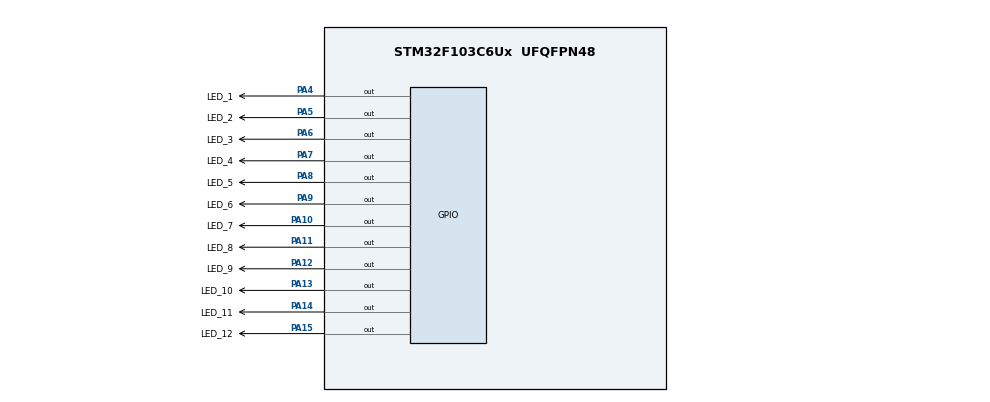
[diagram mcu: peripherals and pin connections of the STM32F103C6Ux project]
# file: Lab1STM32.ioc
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Mcu.Family=STM32F1
Mcu.Name=STM32F103C6Ux
Mcu.Package=UFQFPN48
NVIC.PriorityGroup=NVIC_PRIORITYGROUP_4
PA10.GPIO_Label=LED_7
PA10.Signal=GPIO_Output
PA11.GPIO_Label=LED_8
PA11.Signal=GPIO_Output
PA12.GPIO_Label=LED_9
PA12.Signal=GPIO_Output
PA13.GPIO_Label=LED_10
PA13.Signal=GPIO_Output
PA14.GPIO_Label=LED_11
PA14.Signal=GPIO_Output
PA15.GPIO_Label=LED_12
PA15.Signal=GPIO_Output
PA4.GPIO_Label=LED_1
PA4.Signal=GPIO_Output
PA5.GPIO_Label=LED_2
PA5.Signal=GPIO_Output
PA6.GPIO_Label=LED_3
PA6.Signal=GPIO_Output
PA7.GPIO_Label=LED_4
PA7.Signal=GPIO_Output
PA8.GPIO_Label=LED_5
PA8.Signal=GPIO_Output
PA9.GPIO_Label=LED_6
PA9.Signal=GPIO_Output
ProjectManager.HeapSize=0x200
ProjectManager.StackSize=0x400
ProjectManager.TargetToolchain=STM32CubeIDE
RCC.APB1Freq_Value=8000000
RCC.APB2Freq_Value=8000000
VP_SYS_VS_ND.Mode=No_Debug
board=custom

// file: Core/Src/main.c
/* USER CODE BEGIN Header */
/**
  ******************************************************************************
  * @file           : main.c
  * @brief          : Main program body
  ******************************************************************************
  * @attention
  *
  * <h2><center>&copy; Copyright (c) 2023 STMicroelectronics.
  * All rights reserved.</center></h2>
  *
  * This software component is licensed by ST under BSD 3-Clause license,
  * the "License"; You may not use this file except in compliance with the
  * License. You may obtain a copy of the License at:
  *                        opensource.org/licenses/BSD-3-Clause
  *
  ******************************************************************************
  */
/* USER CODE END Header */
#include "main.h"

void SystemClock_Config(void);
static void MX_GPIO_Init(void);

void clearNumberOnClock(int num){
	  switch(num){
	  case 0:{
		  HAL_GPIO_WritePin(LED_1_GPIO_Port, LED_1_Pin, SET);
		  break;
	  }
	  case 1:{

		  	  HAL_GPIO_WritePin(LED_2_GPIO_Port, LED_2_Pin, SET);
	  		  break;
	  	  }
	  case 2:{
	  		  HAL_GPIO_WritePin(LED_3_GPIO_Port, LED_3_Pin, SET);
	  		  break;
	  	  }
	  case 3:{
	  		 HAL_GPIO_WritePin(LED_4_GPIO_Port, LED_4_Pin, SET);
	  		  break;
	  	  }
	  case 4:{
	  		  HAL_GPIO_WritePin(LED_5_GPIO_Port, LED_5_Pin, SET);
	  		  break;
	  	  }
	  case 5:{
	  		  HAL_GPIO_WritePin(LED_6_GPIO_Port, LED_6_Pin, SET);
	  		  break;
	  	  }
	  case 6:{
	  		  HAL_GPIO_WritePin(LED_7_GPIO_Port, LED_7_Pin, SET);
	  		  break;
	  	  }
	  case 7:{
	  		  HAL_GPIO_WritePin(LED_8_GPIO_Port, LED_8_Pin, SET);
	  		  break;
	  	  }
	  case 8:{
	  		  HAL_GPIO_WritePin(LED_9_GPIO_Port, LED_9_Pin, SET);
	  		  break;
	  	  }
	  case 9:{
	  		  HAL_GPIO_WritePin(LED_10_GPIO_Port, LED_10_Pin, SET);
	  		  break;
	  	  }
	  case 10:{
	  		  HAL_GPIO_WritePin(LED_11_GPIO_Port, LED_11_Pin, SET);
	  		  break;
	  	  }
	  case 11:{
	  		  HAL_GPIO_WritePin(LED_12_GPIO_Port, LED_12_Pin, SET);
	  		  break;
	  	  }
	  }
  }
void setNumberOnClock(int num){
	  switch(num){
	  case 0:{
		  HAL_GPIO_WritePin(LED_1_GPIO_Port, LED_1_Pin, RESET);
		  break;
	  }
	  case 1:{

		  	  HAL_GPIO_WritePin(LED_2_GPIO_Port, LED_2_Pin, RESET);
	  		  break;
	  	  }
	  case 2:{
	  		  HAL_GPIO_WritePin(LED_3_GPIO_Port, LED_3_Pin, RESET);
	  		  break;
	  	  }
	  case 3:{
	  		 HAL_GPIO_WritePin(LED_4_GPIO_Port, LED_4_Pin, RESET);
	  		  break;
	  	  }
	  case 4:{
	  		  HAL_GPIO_WritePin(LED_5_GPIO_Port, LED_5_Pin, RESET);
	  		  break;
	  	  }
	  case 5:{
	  		  HAL_GPIO_WritePin(LED_6_GPIO_Port, LED_6_Pin, RESET);
	  		  break;
	  	  }
	  case 6:{
	  		  HAL_GPIO_WritePin(LED_7_GPIO_Port, LED_7_Pin, RESET);
	  		  break;
	  	  }
	  case 7:{
	  		  HAL_GPIO_WritePin(LED_8_GPIO_Port, LED_8_Pin, RESET);
	  		  break;
	  	  }
	  case 8:{
	  		  HAL_GPIO_WritePin(LED_9_GPIO_Port, LED_9_Pin, RESET);
	  		  break;
	  	  }
	  case 9:{
	  		  HAL_GPIO_WritePin(LED_10_GPIO_Port, LED_10_Pin, RESET);
	  		  break;
	  	  }
	  case 10:{
	  		  HAL_GPIO_WritePin(LED_11_GPIO_Port, LED_11_Pin, RESET);
	  		  break;
	  	  }
	  case 11:{
	  		  HAL_GPIO_WritePin(LED_12_GPIO_Port, LED_12_Pin, RESET);
	  		  break;
	  	  }
	  }
  }
void clearAllClock() {
	  // HAL_GPIO_WritePin(LED_1_GPIO_Port, LED_1_Pin | LED_2_Pin | LED_3_Pin | LED_4_Pin | LED_5_Pin | LED_6_Pin| LED_7_Pin | LED_8_Pin | LED_9_Pin | LED_10_Pin | LED_11_Pin |LED_12_PIN , SET);
	  	  	  	  HAL_GPIO_WritePin(LED_1_GPIO_Port, LED_1_Pin, SET);
	 	  		  HAL_GPIO_WritePin(LED_2_GPIO_Port, LED_2_Pin, SET);
	 	  		  HAL_GPIO_WritePin(LED_3_GPIO_Port, LED_3_Pin, SET);
	 	  		  HAL_GPIO_WritePin(LED_4_GPIO_Port, LED_4_Pin, SET);
	 	  		  HAL_GPIO_WritePin(LED_5_GPIO_Port, LED_5_Pin, SET);
	 	  		  HAL_GPIO_WritePin(LED_6_GPIO_Port, LED_6_Pin, SET);
	 	  		  HAL_GPIO_WritePin(LED_7_GPIO_Port, LED_7_Pin, SET);
	 	  		  HAL_GPIO_WritePin(LED_8_GPIO_Port, LED_8_Pin, SET);
	 	  		  HAL_GPIO_WritePin(LED_9_GPIO_Port, LED_9_Pin, SET);
	 	  		  HAL_GPIO_WritePin(LED_10_GPIO_Port, LED_10_Pin, SET);
	 	  		  HAL_GPIO_WritePin(LED_11_GPIO_Port, LED_11_Pin, SET);
	 	  		  HAL_GPIO_WritePin(LED_12_GPIO_Port, LED_12_Pin, SET);
}
int main(void)
{

  /* MCU Configuration--------------------------------------------------------*/

  /* Reset of all peripherals, Initializes the Flash interface and the Systick. */
  HAL_Init();

  /* Configure the system clock */
  SystemClock_Config();

  /* Initialize all configured peripherals */
  MX_GPIO_Init();
  /* USER CODE BEGIN 2 */
  int second = 0;
  int minute = 0;
  int hour = 0;
  /* USER CODE END 2 */

  /* Infinite loop */
  /* USER CODE BEGIN WHILE */

  while (1)
  {
	  clearAllClock();
	  	  setNumberOnClock(hour);
	  	  setNumberOnClock(minute/5);
	  	  setNumberOnClock(second/5);
	  	  if (second == 60){
	  		  minute++;
	  		  second = 0;
	  	  }
	  	  if (minute == 60){
	  		  hour ++;
	  		  minute = 0;
	  	  }
	  	  if (hour == 12){
	  		  hour = 0;
	  	  }
	  	  second ++;
	  	  HAL_Delay(100);
    /* USER CODE END WHILE */

  }
}

void SystemClock_Config(void)
{
  RCC_OscInitTypeDef RCC_OscInitStruct = {0};
  RCC_ClkInitTypeDef RCC_ClkInitStruct = {0};

  /** Initializes the RCC Oscillators according to the specified parameters
  * in the RCC_OscInitTypeDef structure.
  */
  RCC_OscInitStruct.OscillatorType = RCC_OSCILLATORTYPE_HSI;
  RCC_OscInitStruct.HSIState = RCC_HSI_ON;
  RCC_OscInitStruct.HSICalibrationValue = RCC_HSICALIBRATION_DEFAULT;
  RCC_OscInitStruct.PLL.PLLState = RCC_PLL_NONE;
  if (HAL_RCC_OscConfig(&RCC_OscInitStruct) != HAL_OK)
  {
    Error_Handler();
  }
  /** Initializes the CPU, AHB and APB buses clocks
  */
  RCC_ClkInitStruct.ClockType = RCC_CLOCKTYPE_HCLK|RCC_CLOCKTYPE_SYSCLK
                              |RCC_CLOCKTYPE_PCLK1|RCC_CLOCKTYPE_PCLK2;
  RCC_ClkInitStruct.SYSCLKSource = RCC_SYSCLKSOURCE_HSI;
  RCC_ClkInitStruct.AHBCLKDivider = RCC_SYSCLK_DIV1;
  RCC_ClkInitStruct.APB1CLKDivider = RCC_HCLK_DIV1;
  RCC_ClkInitStruct.APB2CLKDivider = RCC_HCLK_DIV1;

  if (HAL_RCC_ClockConfig(&RCC_ClkInitStruct, FLASH_LATENCY_0) != HAL_OK)
  {
    Error_Handler();
  }
}

static void MX_GPIO_Init(void)
{
  GPIO_InitTypeDef GPIO_InitStruct = {0};

  /* GPIO Ports Clock Enable */
  __HAL_RCC_GPIOA_CLK_ENABLE();

  /*Configure GPIO pin Output Level */
  HAL_GPIO_WritePin(GPIOA, LED_1_Pin|LED_2_Pin|LED_3_Pin|LED_4_Pin
                          |LED_5_Pin|LED_6_Pin|LED_7_Pin|LED_8_Pin
                          |LED_9_Pin|LED_10_Pin|LED_11_Pin|LED_12_Pin, GPIO_PIN_RESET);

  /*Configure GPIO pins : LED_1_Pin LED_2_Pin LED_3_Pin LED_4_Pin
                           LED_5_Pin LED_6_Pin LED_7_Pin LED_8_Pin
                           LED_9_Pin LED_10_Pin LED_11_Pin LED_12_Pin */
  GPIO_InitStruct.Pin = LED_1_Pin|LED_2_Pin|LED_3_Pin|LED_4_Pin
                          |LED_5_Pin|LED_6_Pin|LED_7_Pin|LED_8_Pin
                          |LED_9_Pin|LED_10_Pin|LED_11_Pin|LED_12_Pin;
  GPIO_InitStruct.Mode = GPIO_MODE_OUTPUT_PP;
  GPIO_InitStruct.Pull = GPIO_NOPULL;
  GPIO_InitStruct.Speed = GPIO_SPEED_FREQ_LOW;
  HAL_GPIO_Init(GPIOA, &GPIO_InitStruct);

}

void Error_Handler(void)
{
  __disable_irq();
  while (1)
  {
  }
}

/************************ (C) COPYRIGHT STMicroelectronics *****END OF FILE****/
